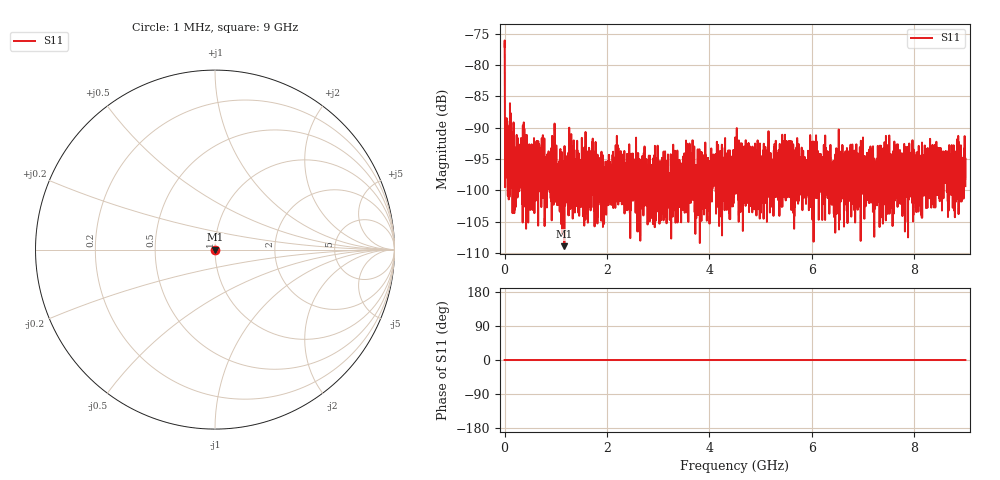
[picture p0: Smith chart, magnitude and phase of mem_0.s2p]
! NanoVNA-App
! Date: 2022-12-12 20:10:53
! Start: 1MHz Stop: 9GHz Points: 5000
! S-Parameter data: F S11 S21 S12 S22
# Hz S RI R 50
!  Frequency  S11_Real  S11_Imag  S21_Real  S21_Imag  S12_Real  S12_Imag  S22_Real  S22_Imag
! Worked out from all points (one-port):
!   5000 points, 1 MHz to 9 GHz, reference 50 ohm
!   lowest |S11| = -108.9 dB at 1.168 GHz (marker M1), VSWR 1.00, Z = 50 + j0 ohm
!   |S11| at or under -10 dB: start of sweep to end of sweep
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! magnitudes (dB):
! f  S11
! 1 MHz  -77.1
! 2.8 MHz  -76.1
! 4.6 MHz  -82.6
! 6.4 MHz  -88.6
! 8.201 MHz  -94.1
! 10 MHz  -95.6
! 11.8 MHz  -99.5
! 28 MHz  -95.5
! 29.8 MHz  -97.5
! 33.4 MHz  -94.5
! 35.2 MHz  -93.5
! 37 MHz  -91.5
! 38.8 MHz  -88.5
! 47.8 MHz  -89.9
! 49.6 MHz  -93.9
! 1.168 GHz  -108.9
! 1.502 GHz  -97.1
! 3.002 GHz  -98.9
! 4.501 GHz  -95.1
! 6.001 GHz  -95.2
! 7.5 GHz  -99.3
! 9 GHz  -99.3
